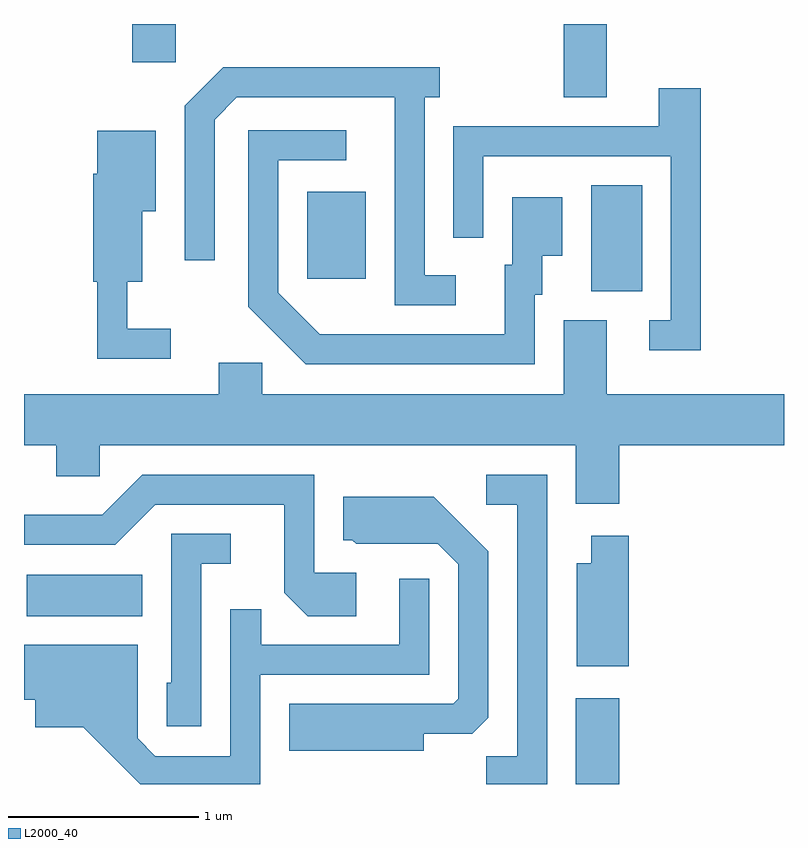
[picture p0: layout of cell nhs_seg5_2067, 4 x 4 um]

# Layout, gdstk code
import gdstk
lib = gdstk.Library(unit=1e-6, precision=1e-09)
def R(c, l, rs):  # rectangles x0, y0, x1, y1
    for r in rs: c.add(gdstk.rectangle(r[:2], r[2:], *l))
def P(c, l, *ps):  # polygons
    for p in ps: c.add(gdstk.Polygon(p, *l))
L2000_40 = (2000, 40)

nhs_seg5_2067 = lib.new_cell('nhs_seg5_2067')
R(nhs_seg5_2067, L2000_40, [(248.516,1506.072,248.744,1506.524), (245.626,1506.956,246.234,1507.174), (248.596,1508.666,248.864,1509.224), (247.101,1508.731,247.409,1509.189), (248.451,1509.686,248.679,1510.072), (246.181,1509.871,246.409,1510.072)])
P(nhs_seg5_2067, L2000_40, [(247.883,1508.749),(247.719,1508.749),(247.719,1509.686),(247.798,1509.686),(247.798,1509.844),(246.659,1509.844),(246.456,1509.642),(246.456,1508.828),(246.614,1508.828),(246.614,1509.569),(246.732,1509.686),(247.561,1509.686),(247.561,1508.591),(247.883,1508.591)],
  [(249.174,1509.734),(248.951,1509.734),(248.951,1509.534),(247.871,1509.534),(247.871,1508.948),(248.029,1508.948),(248.029,1509.376),(249.016,1509.376),(249.016,1508.514),(248.903,1508.514),(248.903,1508.356),(249.174,1508.356)],
  [(248.299,1508.646),(248.339,1508.646),(248.339,1508.851),(248.444,1508.851),(248.444,1509.159),(248.181,1509.159),(248.181,1508.804),(248.141,1508.804),(248.141,1508.439),(247.167,1508.439),(246.949,1508.657),(246.949,1509.356),(247.308,1509.356),(247.308,1509.514),(246.791,1509.514),(246.791,1508.584),(247.094,1508.281),(248.299,1508.281)],
  [(246.383,1508.469),(246.154,1508.469),(246.154,1508.716),(246.234,1508.716),(246.234,1509.086),(246.304,1509.086),(246.304,1509.509),(245.996,1509.509),(245.996,1509.284),(245.976,1509.284),(245.976,1508.716),(245.996,1508.716),(245.996,1508.311),(246.383,1508.311)],
  [(248.744,1507.856),(249.611,1507.856),(249.611,1508.124),(248.679,1508.124),(248.679,1508.514),(248.451,1508.514),(248.451,1508.124),(246.864,1508.124),(246.864,1508.289),(246.636,1508.289),(246.636,1508.124),(245.611,1508.124),(245.611,1507.856),(245.781,1507.856),(245.781,1507.691),(246.009,1507.691),(246.009,1507.856),(248.516,1507.856),(248.516,1507.546),(248.744,1507.546)],
  [(247.359,1507.184),(247.139,1507.184),(247.139,1507.699),(246.234,1507.699),(246.024,1507.489),(245.611,1507.489),(245.611,1507.331),(246.092,1507.331),(246.302,1507.541),(246.981,1507.541),(246.981,1507.079),(247.104,1506.956),(247.359,1506.956)],
  [(248.364,1507.699),(248.043,1507.699),(248.043,1507.541),(248.206,1507.541),(248.206,1506.219),(248.043,1506.219),(248.043,1506.072),(248.364,1506.072)],
  [(247.714,1506.336),(247.969,1506.336),(248.054,1506.422),(248.054,1507.297),(247.767,1507.584),(247.291,1507.584),(247.291,1507.356),(247.339,1507.356),(247.359,1507.336),(247.789,1507.336),(247.896,1507.229),(247.896,1506.522),(247.869,1506.494),(247.006,1506.494),(247.006,1506.246),(247.714,1506.246)],
  [(246.544,1507.231),(246.698,1507.231),(246.698,1507.389),(246.386,1507.389),(246.386,1506.604),(246.361,1506.604),(246.361,1506.376),(246.544,1506.376)],
  [(248.794,1507.379),(248.596,1507.379),(248.596,1507.234),(248.521,1507.234),(248.521,1506.691),(248.794,1506.691)],
  [(246.854,1506.646),(247.744,1506.646),(247.744,1507.153),(247.586,1507.153),(247.586,1506.804),(246.859,1506.804),(246.859,1506.993),(246.696,1506.993),(246.696,1506.219),(246.302,1506.219),(246.209,1506.312),(246.209,1506.804),(245.611,1506.804),(245.611,1506.516),(245.671,1506.516),(245.671,1506.371),(245.924,1506.371),(246.223,1506.072),(246.854,1506.072)])

lib.write_gds('nhs_seg5_2067.gds')
